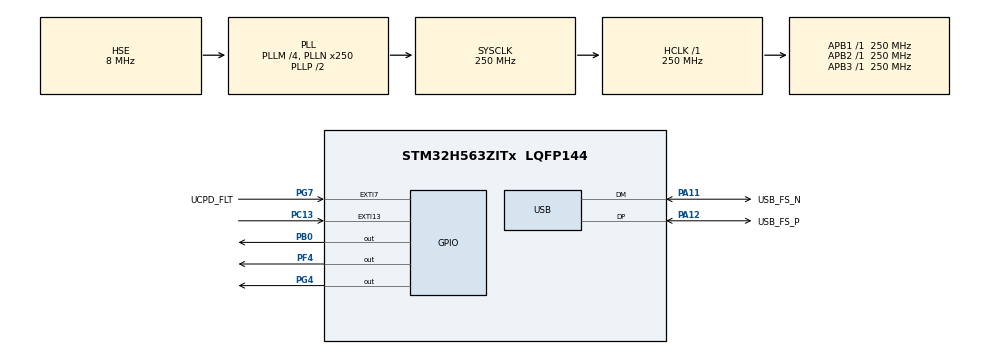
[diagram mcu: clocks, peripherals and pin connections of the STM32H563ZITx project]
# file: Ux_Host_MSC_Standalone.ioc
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BOOTPATH.BootPathName=LEGACY
BOOTPATH.UserSelectedBootPath=LEGACY
CORTEX_M33_NS.userName=CORTEX_M33
FILEX.FX_CUSTOM_INTERFACE=1
Mcu.Family=STM32H5
Mcu.Name=STM32H563ZITx
Mcu.Package=LQFP144
NUCLEO-H563ZI.BUTTON=1
NUCLEO-H563ZI.LD1=true
NUCLEO-H563ZI.LD2=true
NUCLEO-H563ZI.LD3=true
NUCLEO-H563ZI.VCP=true
NVIC.EXTI13_IRQn=true\:0\:0\:false\:false\:true\:false\:true\:true
NVIC.PriorityGroup=NVIC_PRIORITYGROUP_4
NVIC.USB_DRD_FS_IRQn=true\:0\:0\:false\:false\:true\:true\:true\:true
PA1.GPIO_Label=RMII_REF_CLK
PA1.GPIO_Mode=GPIO_MODE_AF_PP
PA1.GPIO_PuPd=GPIO_NOPULL
PA1.GPIO_Speed=GPIO_SPEED_FREQ_LOW
PA1.Signal=ETH_REF_CLK
PA11.GPIO_Label=USB_FS_N
PA11.Mode=Host
PA11.Signal=USB_DM
PA12.GPIO_Label=USB_FS_P
PA12.Mode=Host
PA12.Signal=USB_DP
PA13(JTMS/SWDIO).GPIO_Label=SWDIO
PA13(JTMS/SWDIO).Signal=DEBUG_JTMS-SWDIO
PA14(JTCK/SWCLK).GPIO_Label=SWCLK
PA14(JTCK/SWCLK).Signal=DEBUG_JTCK-SWCLK
PA15(JTDI).GPIO_Label=T_JTDI
PA15(JTDI).Signal=DEBUG_JTDI
PA2.GPIO_Label=RMII_MDIO
PA2.GPIO_Mode=GPIO_MODE_AF_PP
PA2.GPIO_PuPd=GPIO_NOPULL
PA2.GPIO_Speed=GPIO_SPEED_FREQ_LOW
PA2.Signal=ETH_MDIO
PA4.GPIO_Label=VBUS_SENSE
PA4.Signal=ADCx_INP18
PA7.GPIO_Label=RMII_CRS_DV
PA7.GPIO_Mode=GPIO_MODE_AF_PP
PA7.GPIO_PuPd=GPIO_NOPULL
PA7.GPIO_Speed=GPIO_SPEED_FREQ_LOW
PA7.Signal=ETH_CRS_DV
PA9.GPIO_Label=UCDP_DBn
PA9.Signal=UCPD1_DB1
PB0.Signal=GPIO_Output
PB13.GPIO_Label=UCPD_CC1
PB13.Signal=UCPD1_CC1
PB14.GPIO_Label=UCPD_CC2
PB14.Signal=UCPD1_CC2
PB15.GPIO_Label=RMII_TXD1
PB15.GPIO_Mode=GPIO_MODE_AF_PP
PB15.GPIO_PuPd=GPIO_NOPULL
PB15.GPIO_Speed=GPIO_SPEED_FREQ_LOW
PB15.Signal=ETH_TXD1
PB3(JTDO/TRACESWO).GPIO_Label=SWO
PB3(JTDO/TRACESWO).Signal=DEBUG_JTDO-SWO
PB6.GPIO_Label=ARD_D1_TX
PB6.Signal=LPUART1_TX
PB7.GPIO_Label=ARD_D0_RX
PB7.Signal=LPUART1_RX
PC1.GPIO_Label=RMII_MDC
PC1.GPIO_Mode=GPIO_MODE_AF_PP
PC1.GPIO_PuPd=GPIO_NOPULL
PC1.GPIO_Speed=GPIO_SPEED_FREQ_LOW
PC1.Signal=ETH_MDC
PC13.Signal=GPXTI13
PC14-OSC32_IN(OSC32_IN).Mode=LSE-External-Oscillator
PC14-OSC32_IN(OSC32_IN).Signal=RCC_OSC32_IN
PC15-OSC32_OUT(OSC32_OUT).Mode=LSE-External-Oscillator
PC15-OSC32_OUT(OSC32_OUT).Signal=RCC_OSC32_OUT
PC4.GPIO_Label=RMII_RXD0
PC4.GPIO_Mode=GPIO_MODE_AF_PP
PC4.GPIO_PuPd=GPIO_NOPULL
PC4.GPIO_Speed=GPIO_SPEED_FREQ_LOW
PC4.Signal=ETH_RXD0
PC5.GPIO_Label=RMII_RXD1
PC5.GPIO_Mode=GPIO_MODE_AF_PP
PC5.GPIO_PuPd=GPIO_NOPULL
PC5.GPIO_Speed=GPIO_SPEED_FREQ_LOW
PC5.Signal=ETH_RXD1
PD8.Signal=USART3_TX
PD9.Signal=USART3_RX
PE2.GPIO_Label=TRACE_CK
PE2.Signal=DEBUG_TRACECLK
PE3.GPIO_Label=TRACE_D0
PE3.Signal=DEBUG_TRACED0
PE4.GPIO_Label=TRACE_D1
PE4.Signal=DEBUG_TRACED1
PE5.GPIO_Label=TRACE_D2
PE5.Signal=DEBUG_TRACED2
PE6.GPIO_Label=TRACE_D3
PE6.Signal=DEBUG_TRACED3
PF4.Signal=GPIO_Output
PG11.GPIO_Label=RMII_TXT_EN
PG11.GPIO_Mode=GPIO_MODE_AF_PP
PG11.GPIO_PuPd=GPIO_NOPULL
PG11.GPIO_Speed=GPIO_SPEED_FREQ_LOW
PG11.Signal=ETH_TX_EN
PG13.GPIO_Label=RMI_TXD0
PG13.GPIO_Mode=GPIO_MODE_AF_PP
PG13.GPIO_PuPd=GPIO_NOPULL
PG13.GPIO_Speed=GPIO_SPEED_FREQ_LOW
PG13.Signal=ETH_TXD0
PG4.Signal=GPIO_Output
PG7.GPIO_Label=UCPD_FLT
PG7.Signal=GPXTI7
PH0-OSC_IN(PH0).GPIO_Label=STLK_MCO
PH0-OSC_IN(PH0).Mode=HSE-External-Clock-Source
PH0-OSC_IN(PH0).Signal=RCC_OSC_IN
ProjectManager.HeapSize=0x200
ProjectManager.StackSize=0x400
ProjectManager.TargetToolchain=STM32CubeIDE
RCC.ADCFreq_Value=250000000
RCC.AHBFreq_Value=250000000
RCC.APB1Freq_Value=250000000
RCC.APB1TimFreq_Value=250000000
RCC.APB2Freq_Value=250000000
RCC.APB2TimFreq_Value=250000000
RCC.APB3Freq_Value=250000000
RCC.CSI_VALUE=4000000
RCC.CortexFreq_Value=250000000
RCC.EPOD_VALUE=8000000
RCC.HCLKFreq_Value=250000000
RCC.HSE_VALUE=8000000
RCC.HSI48_VALUE=48000000
RCC.HSIDiv=RCC_HSI_DIV1
RCC.HSI_VALUE=64000000
RCC.LSIRC_VALUE=32000
RCC.PLL3N=48
RCC.PLL3Q=8
RCC.PLL3Source=RCC_PLL3_SOURCE_HSE
RCC.PLLM=4
RCC.PLLN=250
RCC.PLLSourceVirtual=RCC_PLL1_SOURCE_HSE
RCC.SYSCLKFreq_VALUE=250000000
RCC.SYSCLKSource=RCC_SYSCLKSOURCE_PLLCLK
RCC.USBCLockSelection=RCC_USBCLKSOURCE_PLL3Q
RCC.USBFreq_Value=48000000
RCC.VCOOutputFreq_Value=500000000
SH.ADCx_INP18.0=ADC1_INP18
USB.VirtualMode=Host_Only
USBX.BSP.number=1
USBX.Core_System=1
USBX.USBX_HOST_SYS_SIZE=1024*24
USBX.UX_HOST_APP_MEM_POOL_SIZE_STANDALONE=1024*48
USBX.UX_Host_Controller=1
USBX.UX_Host_CoreStack=1
USBX.UX_Host_MSC=1
USBX0.BSP.STBoard=false
USBX0.BSP.api=Unknown
USBX0.BSP.instance=USB
USBX0.BSP.ip=USB
USBX0.BSP.mode=Host_Only
USBX0.BSP.name=USB_Host
USBX0.BSP.solution=USB
VP_BOOTPATH_VS_BOOTPATH.Mode=BP_Activate
VP_CORTEX_M33_NS_VS_Hclk.Mode=Hclk_Mode
VP_FILEX_VS_CustomOointerface.Mode=Custom_interface
VP_FILEX_VS_FileOoSystemJjFileXJjCore.Mode=FileX_Core
VP_MEMORYMAP_VS_MEMORYMAP.Mode=CurAppReg
VP_NUCLEO-H563ZI_VS_BSP_COMMON.Mode=COMMON
VP_PWR_VS_DBSignals.Mode=DisableDeadBatterySignals
VP_PWR_VS_LPOM.Mode=PowerOptimisation
VP_PWR_VS_SECSignals.Mode=Security/Privilege
VP_USBX_Core_System.Mode=Core_System
VP_USBX_UX\ Host\ Controller_FS.Mode=UX_Host_Controller_FS
VP_USBX_UX\ Host\ CoreStack_FS.Mode=UX_Host_CoreStack_FS
VP_USBX_UX\ Host\ MSC_FS.Mode=UX_Host_MSC_FS
board=NUCLEO-H563ZI

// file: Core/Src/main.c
/* USER CODE BEGIN Header */
/**
  ******************************************************************************
  * @file           : main.c
  * @brief          : Main program body
  ******************************************************************************
  * @attention
  *
  * Copyright (c) 2025 STMicroelectronics.
  * All rights reserved.
  *
  * This software is licensed under terms that can be found in the LICENSE file
  * in the root directory of this software component.
  * If no LICENSE file comes with this software, it is provided AS-IS.
  *
  ******************************************************************************
  */
/* USER CODE END Header */
#include "main.h"
#include "app_filex.h"
#include "app_usbx_host.h"

/* USER CODE BEGIN Includes */
#include "ux_hcd_stm32.h"

extern uint8_t STORAGE_MEDIA;
extern void msc_process();

UINT media_memory[2048 / sizeof(UINT)];
FX_MEDIA                    *media;
FX_MEDIA                    usb_media;
extern UX_HOST_CLASS_STORAGE       *storage;
/* USER CODE END Includes */

COM_InitTypeDef BspCOMInit;

HCD_HandleTypeDef hhcd_USB_DRD_FS;

void SystemClock_Config(void);
static void MX_GPIO_Init(void);

int main(void)
{

  /* MCU Configuration--------------------------------------------------------*/

  /* Reset of all peripherals, Initializes the Flash interface and the Systick. */
  HAL_Init();

  /* Configure the system clock */
  SystemClock_Config();

  /* Initialize all configured peripherals */
  MX_GPIO_Init();
  MX_USB_HCD_Init();
  MX_FileX_Init();
  MX_USBX_Host_Init();
  /* USER CODE BEGIN 2 */
  ux_host_stack_hcd_register(_ux_system_host_hcd_stm32_name,
                               _ux_hcd_stm32_initialize, (ULONG)USB_DRD_FS,
                               (ULONG)&hhcd_USB_DRD_FS);
  HAL_HCD_Start(&hhcd_USB_DRD_FS);
  /* USER CODE END 2 */

  /* Initialize leds */
  BSP_LED_Init(LED_GREEN);
  BSP_LED_Init(LED_YELLOW);
  BSP_LED_Init(LED_RED);

  /* Initialize USER push-button, will be used to trigger an interrupt each time it's pressed.*/
  BSP_PB_Init(BUTTON_USER, BUTTON_MODE_EXTI);

  /* Initialize COM1 port (115200, 8 bits (7-bit data + 1 stop bit), no parity */
  BspCOMInit.BaudRate   = 115200;
  BspCOMInit.WordLength = COM_WORDLENGTH_8B;
  BspCOMInit.StopBits   = COM_STOPBITS_1;
  BspCOMInit.Parity     = COM_PARITY_NONE;
  BspCOMInit.HwFlowCtl  = COM_HWCONTROL_NONE;
  if (BSP_COM_Init(COM1, &BspCOMInit) != BSP_ERROR_NONE)
  {
    Error_Handler();
  }

  /* Infinite loop */
  /* USER CODE BEGIN WHILE */
  printf("\nRESET\n");
  while (1)
  {

    /* USER CODE END WHILE */

    /* USER CODE BEGIN 3 */
	  ux_host_stack_tasks_run();
	  if(STORAGE_MEDIA != 0){
	  		  media = &usb_media;
	  		  /* Check the storage class state */
	  		  if (storage -> ux_host_class_storage_state ==  UX_HOST_CLASS_INSTANCE_LIVE)
	  		  {
	  			for(int i = 0;i< sizeof(usb_media); ++i) ((uint8_t*)media)[i]=0;//delete usb_media
	  			STORAGE_MEDIA = 0;
	  		      UINT ret = fx_media_open(media, "STM32_USB_DISK", fx_stm32_custom_driver, (VOID *) media->fx_media_driver_info, (VOID *) media_memory, sizeof(media_memory));
	  			  if (! ret) msc_process();//start file operation
	  		  }
	  	  }
  }
  /* USER CODE END 3 */
}

void SystemClock_Config(void)
{
  RCC_OscInitTypeDef RCC_OscInitStruct = {0};
  RCC_ClkInitTypeDef RCC_ClkInitStruct = {0};

  /** Configure the main internal regulator output voltage
  */
  __HAL_PWR_VOLTAGESCALING_CONFIG(PWR_REGULATOR_VOLTAGE_SCALE0);

  while(!__HAL_PWR_GET_FLAG(PWR_FLAG_VOSRDY)) {}

  /** Initializes the RCC Oscillators according to the specified parameters
  * in the RCC_OscInitTypeDef structure.
  */
  RCC_OscInitStruct.OscillatorType = RCC_OSCILLATORTYPE_HSE;
  RCC_OscInitStruct.HSEState = RCC_HSE_BYPASS;
  RCC_OscInitStruct.PLL.PLLState = RCC_PLL_ON;
  RCC_OscInitStruct.PLL.PLLSource = RCC_PLL1_SOURCE_HSE;
  RCC_OscInitStruct.PLL.PLLM = 4;
  RCC_OscInitStruct.PLL.PLLN = 250;
  RCC_OscInitStruct.PLL.PLLP = 2;
  RCC_OscInitStruct.PLL.PLLQ = 2;
  RCC_OscInitStruct.PLL.PLLR = 2;
  RCC_OscInitStruct.PLL.PLLRGE = RCC_PLL1_VCIRANGE_1;
  RCC_OscInitStruct.PLL.PLLVCOSEL = RCC_PLL1_VCORANGE_WIDE;
  RCC_OscInitStruct.PLL.PLLFRACN = 0;
  if (HAL_RCC_OscConfig(&RCC_OscInitStruct) != HAL_OK)
  {
    Error_Handler();
  }

  /** Initializes the CPU, AHB and APB buses clocks
  */
  RCC_ClkInitStruct.ClockType = RCC_CLOCKTYPE_HCLK|RCC_CLOCKTYPE_SYSCLK
                              |RCC_CLOCKTYPE_PCLK1|RCC_CLOCKTYPE_PCLK2
                              |RCC_CLOCKTYPE_PCLK3;
  RCC_ClkInitStruct.SYSCLKSource = RCC_SYSCLKSOURCE_PLLCLK;
  RCC_ClkInitStruct.AHBCLKDivider = RCC_SYSCLK_DIV1;
  RCC_ClkInitStruct.APB1CLKDivider = RCC_HCLK_DIV1;
  RCC_ClkInitStruct.APB2CLKDivider = RCC_HCLK_DIV1;
  RCC_ClkInitStruct.APB3CLKDivider = RCC_HCLK_DIV1;

  if (HAL_RCC_ClockConfig(&RCC_ClkInitStruct, FLASH_LATENCY_5) != HAL_OK)
  {
    Error_Handler();
  }

  /** Configure the programming delay
  */
  __HAL_FLASH_SET_PROGRAM_DELAY(FLASH_PROGRAMMING_DELAY_2);
}

void MX_USB_HCD_Init(void)
{

  hhcd_USB_DRD_FS.Instance = USB_DRD_FS;
  hhcd_USB_DRD_FS.Init.dev_endpoints = 8;
  hhcd_USB_DRD_FS.Init.Host_channels = 8;
  hhcd_USB_DRD_FS.Init.speed = USBD_FS_SPEED;
  hhcd_USB_DRD_FS.Init.phy_itface = HCD_PHY_EMBEDDED;
  hhcd_USB_DRD_FS.Init.Sof_enable = DISABLE;
  hhcd_USB_DRD_FS.Init.low_power_enable = DISABLE;
  hhcd_USB_DRD_FS.Init.vbus_sensing_enable = DISABLE;
  hhcd_USB_DRD_FS.Init.bulk_doublebuffer_enable = DISABLE;
  hhcd_USB_DRD_FS.Init.iso_singlebuffer_enable = DISABLE;
  if (HAL_HCD_Init(&hhcd_USB_DRD_FS) != HAL_OK)
  {
    Error_Handler();
  }

}

static void MX_GPIO_Init(void)
{
  GPIO_InitTypeDef GPIO_InitStruct = {0};

  /* GPIO Ports Clock Enable */
  __HAL_RCC_GPIOE_CLK_ENABLE();
  __HAL_RCC_GPIOC_CLK_ENABLE();
  __HAL_RCC_GPIOH_CLK_ENABLE();
  __HAL_RCC_GPIOA_CLK_ENABLE();
  __HAL_RCC_GPIOB_CLK_ENABLE();
  __HAL_RCC_GPIOG_CLK_ENABLE();

  /*Configure GPIO pins : RMII_MDC_Pin RMII_RXD0_Pin RMII_RXD1_Pin */
  GPIO_InitStruct.Pin = RMII_MDC_Pin|RMII_RXD0_Pin|RMII_RXD1_Pin;
  GPIO_InitStruct.Mode = GPIO_MODE_AF_PP;
  GPIO_InitStruct.Pull = GPIO_NOPULL;
  GPIO_InitStruct.Speed = GPIO_SPEED_FREQ_HIGH;
  GPIO_InitStruct.Alternate = GPIO_AF11_ETH;
  HAL_GPIO_Init(GPIOC, &GPIO_InitStruct);

  /*Configure GPIO pins : RMII_REF_CLK_Pin RMII_MDIO_Pin RMII_CRS_DV_Pin */
  GPIO_InitStruct.Pin = RMII_REF_CLK_Pin|RMII_MDIO_Pin|RMII_CRS_DV_Pin;
  GPIO_InitStruct.Mode = GPIO_MODE_AF_PP;
  GPIO_InitStruct.Pull = GPIO_NOPULL;
  GPIO_InitStruct.Speed = GPIO_SPEED_FREQ_HIGH;
  GPIO_InitStruct.Alternate = GPIO_AF11_ETH;
  HAL_GPIO_Init(GPIOA, &GPIO_InitStruct);

  /*Configure GPIO pin : VBUS_SENSE_Pin */
  GPIO_InitStruct.Pin = VBUS_SENSE_Pin;
  GPIO_InitStruct.Mode = GPIO_MODE_ANALOG;
  GPIO_InitStruct.Pull = GPIO_NOPULL;
  HAL_GPIO_Init(VBUS_SENSE_GPIO_Port, &GPIO_InitStruct);

  /*Configure GPIO pins : UCPD_CC1_Pin UCPD_CC2_Pin */
  GPIO_InitStruct.Pin = UCPD_CC1_Pin|UCPD_CC2_Pin;
  GPIO_InitStruct.Mode = GPIO_MODE_ANALOG;
  GPIO_InitStruct.Pull = GPIO_NOPULL;
  HAL_GPIO_Init(GPIOB, &GPIO_InitStruct);

  /*Configure GPIO pin : RMII_TXD1_Pin */
  GPIO_InitStruct.Pin = RMII_TXD1_Pin;
  GPIO_InitStruct.Mode = GPIO_MODE_AF_PP;
  GPIO_InitStruct.Pull = GPIO_NOPULL;
  GPIO_InitStruct.Speed = GPIO_SPEED_FREQ_HIGH;
  GPIO_InitStruct.Alternate = GPIO_AF11_ETH;
  HAL_GPIO_Init(RMII_TXD1_GPIO_Port, &GPIO_InitStruct);

  /*Configure GPIO pin : UCPD_FLT_Pin */
  GPIO_InitStruct.Pin = UCPD_FLT_Pin;
  GPIO_InitStruct.Mode = GPIO_MODE_IT_RISING;
  GPIO_InitStruct.Pull = GPIO_NOPULL;
  HAL_GPIO_Init(UCPD_FLT_GPIO_Port, &GPIO_InitStruct);

  /*Configure GPIO pins : RMII_TXT_EN_Pin RMI_TXD0_Pin */
  GPIO_InitStruct.Pin = RMII_TXT_EN_Pin|RMI_TXD0_Pin;
  GPIO_InitStruct.Mode = GPIO_MODE_AF_PP;
  GPIO_InitStruct.Pull = GPIO_NOPULL;
  GPIO_InitStruct.Speed = GPIO_SPEED_FREQ_HIGH;
  GPIO_InitStruct.Alternate = GPIO_AF11_ETH;
  HAL_GPIO_Init(GPIOG, &GPIO_InitStruct);

  /*Configure GPIO pins : ARD_D1_TX_Pin ARD_D0_RX_Pin */
  GPIO_InitStruct.Pin = ARD_D1_TX_Pin|ARD_D0_RX_Pin;
  GPIO_InitStruct.Mode = GPIO_MODE_AF_PP;
  GPIO_InitStruct.Pull = GPIO_NOPULL;
  GPIO_InitStruct.Speed = GPIO_SPEED_FREQ_LOW;
  GPIO_InitStruct.Alternate = GPIO_AF8_LPUART1;
  HAL_GPIO_Init(GPIOB, &GPIO_InitStruct);

}

void Error_Handler(void)
{
  __disable_irq();
  while (1)
  {
  }
}
